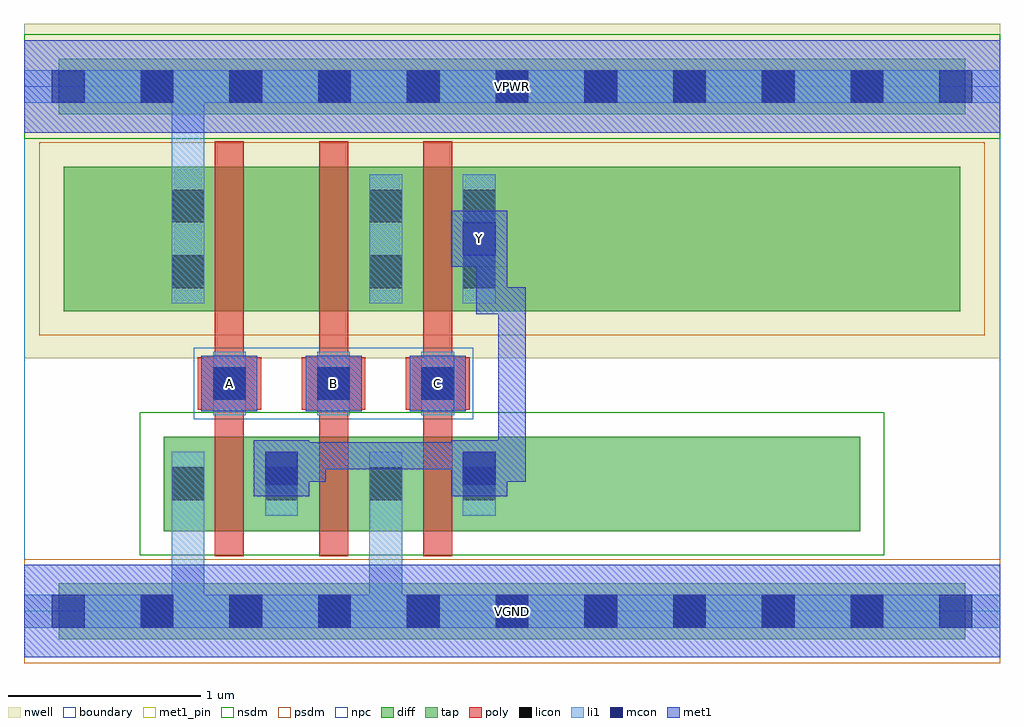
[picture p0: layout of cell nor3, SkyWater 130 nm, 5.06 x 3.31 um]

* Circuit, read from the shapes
.subckt nor3 A B C VGND VPWR Y
XM1 Y A VGND VGND sky130_fd_pr__nfet_01v8 w=0.49 l=0.15
XM2 VGND B Y VGND sky130_fd_pr__nfet_01v8 w=0.49 l=0.15
XM3 Y C VGND VGND sky130_fd_pr__nfet_01v8 w=0.49 l=0.15
XM4 n1 A VPWR VPWR sky130_fd_pr__pfet_01v8 w=0.75 l=0.15
XM5 n2 B n1 VPWR sky130_fd_pr__pfet_01v8 w=0.75 l=0.15
XM6 Y C n2 VPWR sky130_fd_pr__pfet_01v8 w=0.75 l=0.15
.ends

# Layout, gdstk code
import gdstk
lib = gdstk.Library(unit=1e-6, precision=1e-09)
def R(c, l, rs):  # rectangles x0, y0, x1, y1
    for r in rs: c.add(gdstk.rectangle(r[:2], r[2:], *l))
def A(c, l, x, y, w, h, nx, ny, dx, dy):  # array of equal rectangles
    R(c, l, [(x+i*dx, y+j*dy, x+i*dx+w, y+j*dy+h) for i in range(nx) for j in range(ny)])
nwell = (64, 20)
diff = (65, 20)
tap = (65, 44)
poly = (66, 20)
licon = (66, 44)
li1 = (67, 20)
mcon = (67, 44)
met1_pin = (68, 16)
met1 = (68, 20)
nsdm = (93, 44)
psdm = (94, 20)
npc = (95, 20)
boundary = (235, 4)

nor3 = lib.new_cell('nor3')
R(nor3, nwell, [(0,1.31,5.06,3.045)])
R(nor3, diff, [(0.725,0.415,4.335,0.905), (0.205,1.555,4.855,2.305)])
R(nor3, tap, [(0.18,-0.145,4.88,0.145), (0.18,2.575,4.88,2.865)])
A(nor3, poly, 0.99, 0.285, 0.15, 2.15, 3, 1, 0.54, 0)
A(nor3, poly, 0.9, 1.045, 0.33, 0.27, 3, 1, 0.54, 0)
A(nor3, licon, 0.605, -0.085, 0.17, 0.17, 9, 2, 0.46, 2.72)
A(nor3, licon, 0.98, 1.095, 0.17, 0.17, 3, 1, 0.54, 0)
R(nor3, licon, [(0.765,0.575,0.935,0.745), (1.25,0.575,1.42,0.745), (1.79,0.575,1.96,0.745), (2.275,0.575,2.445,0.745), (0.765,1.675,0.935,1.845), (1.79,1.675,1.96,1.845), (2.275,1.675,2.445,1.845), (0.765,2.015,0.935,2.185), (1.79,2.015,1.96,2.185), (2.275,2.015,2.445,2.185)])
A(nor3, li1, 0.98, 1.015, 0.17, 0.33, 3, 1, 0.54, 0)
R(nor3, li1, [(0,-0.085,5.06,0.085), (0.765,-0.085,0.935,0.825), (1.79,-0.085,1.96,0.825), (0.765,0.495,0.935,0.825), (1.25,0.495,1.42,0.825), (1.79,0.495,1.96,0.825), (2.275,0.495,2.445,0.825), (0.765,1.595,0.935,2.265), (0.765,1.595,0.935,2.805), (1.79,1.595,1.96,2.265), (2.275,1.595,2.445,2.265), (0,2.635,5.06,2.805)])
A(nor3, mcon, 0.145, -0.085, 0.17, 0.17, 11, 2, 0.46, 2.72)
A(nor3, mcon, 0.98, 1.095, 0.17, 0.17, 3, 1, 0.54, 0)
R(nor3, mcon, [(1.25,0.655,1.42,0.825), (2.275,0.655,2.445,0.825), (2.275,1.845,2.445,2.015)])
A(nor3, met1_pin, 0.92, 1.035, 0.29, 0.29, 3, 1, 0.54, 0)
R(nor3, met1_pin, [(0,-0.24,5.06,0.24), (2.215,1.785,2.505,2.075), (0,2.48,5.06,2.96)])
A(nor3, met1, 0.92, 1.035, 0.29, 0.29, 3, 1, 0.54, 0)
R(nor3, met1, [(0,-0.24,5.06,0.24), (1.19,0.595,1.48,0.885), (2.215,0.595,2.505,0.885), (1.265,0.67,1.565,0.81), (1.425,0.67,1.565,0.875), (2.29,0.67,2.6,0.81), (2.46,0.67,2.6,0.99), (1.425,0.735,2.6,0.875), (2.46,0.735,2.6,0.99), (2.46,0.85,2.6,1.68), (2.345,1.54,2.485,2.025), (2.345,1.54,2.6,1.68), (2.345,1.68,2.505,1.785), (2.46,1.68,2.505,1.785), (2.215,1.785,2.505,2.075), (2.345,1.885,2.485,2.025), (0,2.48,5.06,2.96)])
R(nor3, nsdm, [(0.6,0.29,4.46,1.03), (0,2.45,5.06,2.99)])
R(nor3, psdm, [(0,-0.27,5.06,0.27), (0.08,1.43,4.98,2.43)])
R(nor3, npc, [(0.88,0.995,2.33,1.365)])
R(nor3, boundary, [(0,0,5.06,2.72)])
nor3.add(gdstk.Label('A', (1.065,1.18), layer=68, texttype=5))
nor3.add(gdstk.Label('B', (1.605,1.18), layer=68, texttype=5))
nor3.add(gdstk.Label('C', (2.145,1.18), layer=68, texttype=5))
nor3.add(gdstk.Label('Y', (2.36,1.93), layer=68, texttype=5))
nor3.add(gdstk.Label('VPWR', (2.53,2.72), layer=68, texttype=5))
nor3.add(gdstk.Label('VGND', (2.53,0), layer=68, texttype=5))
nor3.add(gdstk.Label('A', (1.065,1.18), layer=68, texttype=16))
nor3.add(gdstk.Label('B', (1.605,1.18), layer=68, texttype=16))
nor3.add(gdstk.Label('C', (2.145,1.18), layer=68, texttype=16))
nor3.add(gdstk.Label('Y', (2.36,1.93), layer=68, texttype=16))
nor3.add(gdstk.Label('VPWR', (2.53,2.72), layer=68, texttype=16))
nor3.add(gdstk.Label('VGND', (2.53,0), layer=68, texttype=16))

lib.write_gds('nor3.gds')
